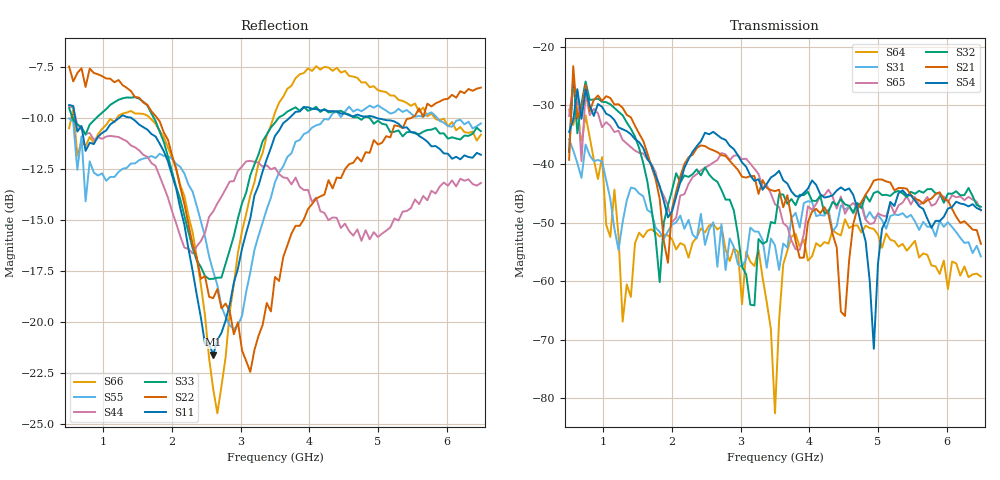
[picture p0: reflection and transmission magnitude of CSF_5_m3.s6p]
!Keysight Technologies,M9804A,MY58100912,A.14.10.03
!Date: Thursday, April 27, 2023 10:28:33
!Correction: S11(C  6-Port  )
!S12(C  6-Port  )
!S13(C  6-Port  )
!S14(C  6-Port  )
!S15(C  6-Port  )
!S16(C  6-Port  )
!S21(C  6-Port  )
!S22(C  6-Port  )
!S23(C  6-Port  )
!S24(C  6-Port  )
!S25(C  6-Port  )
!S26(C  6-Port  )
!S31(C  6-Port  )
!S32(C  6-Port  )
!S33(C  6-Port  )
!S34(C  6-Port  )
!S35(C  6-Port  )
!S36(C  6-Port  )
!S41(C  6-Port  )
!S42(C  6-Port  )
!S43(C  6-Port  )
!S44(C  6-Port  )
!S45(C  6-Port  )
!S46(C  6-Port  )
!S51(C  6-Port  )
!S52(C  6-Port  )
!S53(C  6-Port  )
!S54(C  6-Port  )
!S55(C  6-Port  )
!S56(C  6-Port  )
!S61(C  6-Port  )
!S62(C  6-Port  )
!S63(C  6-Port  )
!S64(C  6-Port  )
!S65(C  6-Port  )
!S66(C  6-Port  )
!S6P File: Measurement: :
# Hz S  RI  R 50
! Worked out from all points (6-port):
!   101 points, 500 MHz to 6.5 GHz, reference 50 ohm
!   strongest paths, dB at 500 MHz, 2 GHz, 3.5 GHz, 5 GHz, 6.5 GHz:
!     S54: -34.5, -48.1, -41.8, -57.0, -47.8
!     S21: -39.3, -47.6, -44.6, -42.6, -53.6
!     S32: -37.9, -44.5, -50.1, -44.7, -47.3
!     S65: -31.8, -49.9, -46.9, -48.4, -47.9
!     S31: -35.8, -50.3, -53.9, -48.7, -55.8
!     S64: -30.7, -52.8, -82.6, -52.0, -59.2
!   lowest |S11| = -21.6 dB at 2.6 GHz (marker M1), VSWR 1.18, Z = 42.6 + j2.07 ohm
!   |S11| at or under -10 dB: 587.5 MHz to 1.233 GHz (645.8 MHz wide, 70.9 % of centre); 1.402 GHz to 3.714 GHz (2.312 GHz wide, 90.4 % of centre); 4.972 GHz to end of sweep
